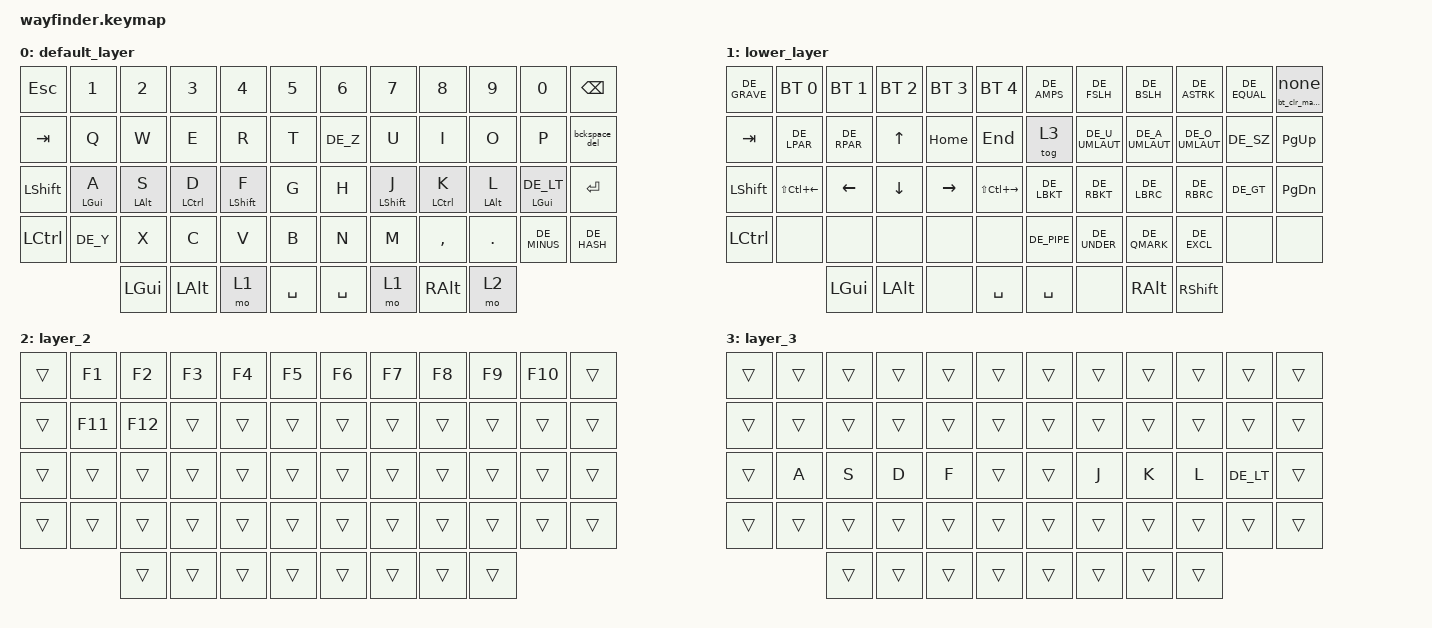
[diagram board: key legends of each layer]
#include "keys_de.h"
#include <behaviors.dtsi>
#include <dt-bindings/zmk/bt.h>
#include <dt-bindings/zmk/keys.h>

/ {
    macros {
        bt_clr_macro: bt_clr_macro {
            compatible = "zmk,behavior-macro";
            #binding-cells = <0>;
            bindings = <&bt BT_CLR>;
        };
    };

    behaviors {
        bt_clr_safe: bt_clr_safe {
            compatible = "zmk,behavior-hold-tap";
            #binding-cells = <2>;
            flavor = "hold-preferred";
            tapping-term-ms = <1000>;
            bindings = <&bt_clr_macro>, <&none>;
        };

        hm: hm {
            compatible = "zmk,behavior-hold-tap";
            bindings = <&kp>, <&kp>;

            #binding-cells = <2>;
            flavor = "balanced";
            tapping-term-ms = <280>;
            quick-tap-ms = <175>;
            require-prior-idle-ms = <150>;
        };

        bckspace_del: bckspace_del {
            compatible = "zmk,behavior-mod-morph";
            bindings = <&kp BACKSPACE>, <&kp DELETE>;

            #binding-cells = <0>;
            mods = <(MOD_RSFT|MOD_LSFT)>;
        };
    };

    keymap {
        compatible = "zmk,keymap";

        default_layer {
            // ---------------------------------------------------------------------------------
            // | ESC  |  1  |  2  |  3  |  4  |  5  |     |  6  |  7  |  8  |  9  |  0  | BKSP |
            // | TAB  |  Q  |  W  |  E  |  R  |  T  |     | DE_Z|  U  |  I  |  O  |  P  | ENTF |
            // | SHFT |  A  |  S  |  D  |  F  |  G  |     |  H  |  J  |  K  |  L  |  <  | ENT  |
            // | CTRL |DE_Y |  X  |  C  |  V  |  B  |     |  N  |  M  |  ,  |  .  |  -  | APOS |
            //              | GUI | ALT | LOW | SPC |     | SPC | LOW | ALT | SHFT|

            bindings = <
&kp ESC    &kp N1          &kp N2          &kp N3       &kp N4       &kp N5     &kp N6     &kp N7       &kp N8       &kp N9          &kp N0              &kp BSPC
&kp TAB    &kp Q           &kp W           &kp E        &kp R        &kp T      &kp DE_Z   &kp U        &kp I        &kp O           &kp P               &bckspace_del
&kp LSHFT  &hm LEFT_GUI A  &hm LEFT_ALT S  &hm LCTRL D  &hm LSHFT F  &kp G      &kp H      &hm LSHFT J  &hm LCTRL K  &hm LEFT_ALT L  &hm LEFT_GUI DE_LT  &kp RET
&kp LCTRL  &kp DE_Y        &kp X           &kp C        &kp V        &kp B      &kp N      &kp M        &kp COMMA    &kp DOT         &kp DE_MINUS        &kp DE_HASH
                           &kp LGUI        &kp LALT     &mo 1        &kp SPACE  &kp SPACE  &mo 1        &kp RALT     &mo 2
            >;
        };

        lower_layer {
            // ------------------------------------------------------------------------------------------------------------
            // |   `   |  BT1  |  BT2  |  BT3  |  BT4  |  BT5  |          |   &   |   /   |   \   |   *   |   =   | BTCLR |
            // |  TAB  |DE_LPAR|DE_RPAR| UARW  | HOME  |  End  |          |       |   ü   |   ä   |   ö   |   ß   | PG_UP |
            // |  SHFT |       | LARW  | DARW  | RARW  |       |          |DE_LBKT|DE_RBKT|   {   |   }   |   >   | PG_DN |
            // |  CTRL |       |       |       |       |       |          |   |   |   _   |   ?   |   !   |       |       |
            //                 | GUI   | ALT   |       | SPC   |          | SPC   |       |  ALT  |  SHFT |

            bindings = <
&kp DE_GRAVE  &bt BT_SEL 0            &bt BT_SEL 1  &bt BT_SEL 2  &bt BT_SEL 3  &bt BT_SEL 4       &kp DE_AMPS  &kp DE_FSLH      &kp DE_BSLH      &kp DE_ASTRK     &kp DE_EQUAL  &bt_clr_safe 0 0
&kp TAB       &kp DE_LPAR             &kp DE_RPAR   &kp UP        &kp HOME      &kp END            &tog 3       &kp DE_U_UMLAUT  &kp DE_A_UMLAUT  &kp DE_O_UMLAUT  &kp DE_SZ     &kp PG_UP
&kp LSHFT     &kp LS(LC(LEFT_ARROW))  &kp LEFT      &kp DOWN      &kp RIGHT     &kp LS(LC(RIGHT))  &kp DE_LBKT  &kp DE_RBKT      &kp DE_LBRC      &kp DE_RBRC      &kp DE_GT     &kp PG_DN
&kp LCTRL     &none                   &none         &none         &none         &none              &kp DE_PIPE  &kp DE_UNDER     &kp DE_QMARK     &kp DE_EXCL      &none         &none
                                      &kp LGUI      &kp LALT      &none         &kp SPACE          &kp SPACE    &none            &kp RALT         &kp RSHFT
            >;
        };

        layer_2 {
            bindings = <
&trans  &kp F1   &kp F2   &kp F3  &kp F4  &kp F5  &kp F6  &kp F7  &kp F8  &kp F9  &kp F10  &trans
&trans  &kp F11  &kp F12  &trans  &trans  &trans  &trans  &trans  &trans  &trans  &trans   &trans
&trans  &trans   &trans   &trans  &trans  &trans  &trans  &trans  &trans  &trans  &trans   &trans
&trans  &trans   &trans   &trans  &trans  &trans  &trans  &trans  &trans  &trans  &trans   &trans
                 &trans   &trans  &trans  &trans  &trans  &trans  &trans  &trans
            >;
        };

        layer_3 {
            bindings = <
&trans  &trans  &trans  &trans  &trans  &trans  &trans  &trans  &trans  &trans  &trans     &trans
&trans  &trans  &trans  &trans  &trans  &trans  &trans  &trans  &trans  &trans  &trans     &trans
&trans  &kp A   &kp S   &kp D   &kp F   &trans  &trans  &kp J   &kp K   &kp L   &kp DE_LT  &trans
&trans  &trans  &trans  &trans  &trans  &trans  &trans  &trans  &trans  &trans  &trans     &trans
                &trans  &trans  &trans  &trans  &trans  &trans  &trans  &trans
            >;
        };
    };
};
